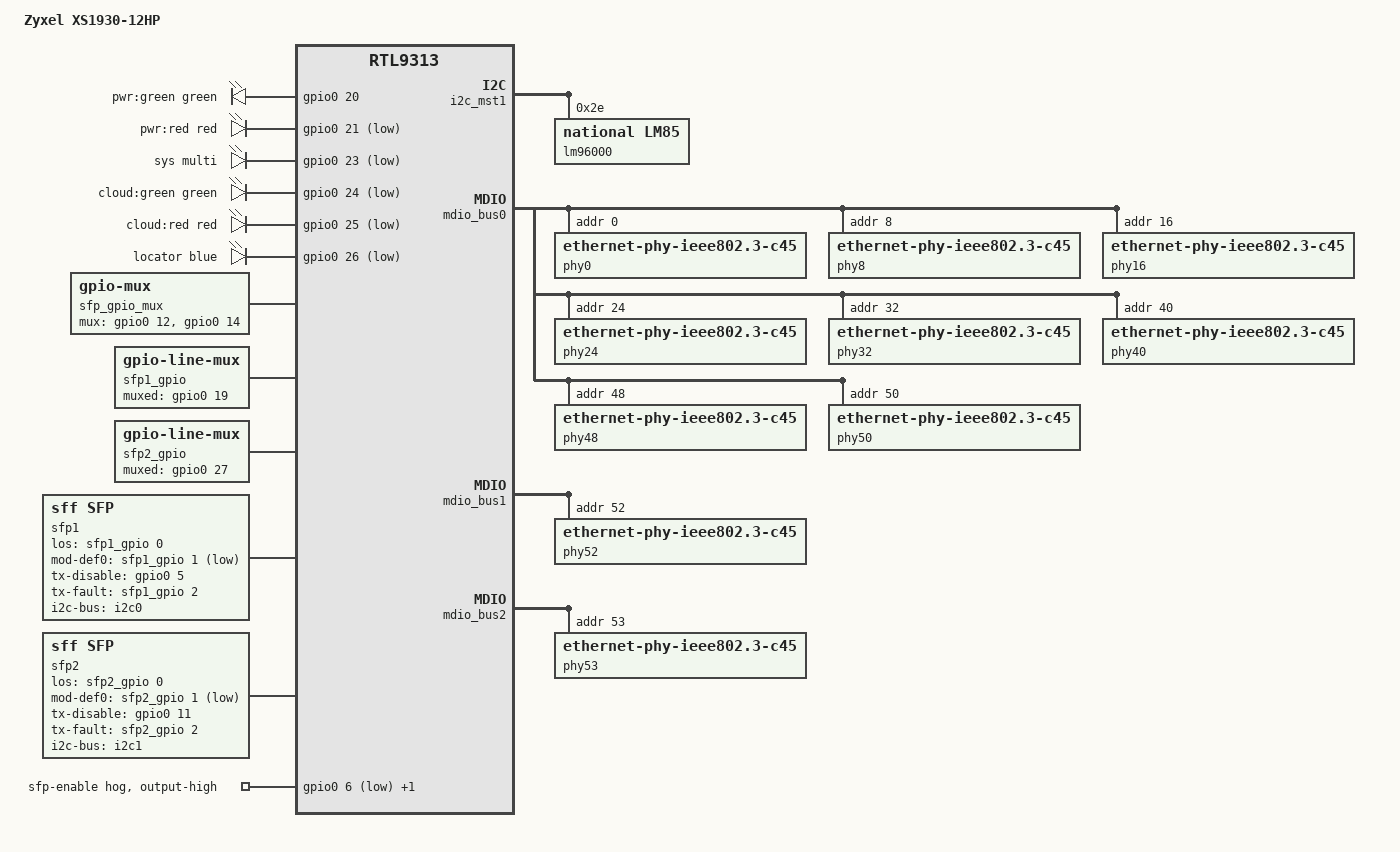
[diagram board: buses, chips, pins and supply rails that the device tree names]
// SPDX-License-Identifier: GPL-2.0-or-later
/dts-v1/;

#include "rtl9313_zyxel_xs1930.dtsi"

#include <dt-bindings/input/input.h>
#include <dt-bindings/gpio/gpio.h>
#include <dt-bindings/leds/common.h>
#include <dt-bindings/mux/mux.h>

/ {
	compatible = "zyxel,xs1930-12hp", "realtek,rtl9313-soc";
	model = "Zyxel XS1930-12HP";

	/*
	aliases {
		led-boot = &led_sys;
		led-failsafe = &led_sys;
		led-running = &led_sys;
		led-upgrade = &led_sys;
	};
	*/

	leds {
		compatible = "gpio-leds";

		led_pwr_green: led-0 {
			reg = <0>;
			color = <LED_COLOR_ID_GREEN>;
			default-state = "on";
			gpios = <&gpio0 20 GPIO_ACTIVE_HIGH>;
			label = "pwr:green";
		};
		led_pwr_red: led-1 {
			reg = <1>;
			color = <LED_COLOR_ID_RED>;
			gpios = <&gpio0 21 GPIO_ACTIVE_LOW>;
			label = "pwr:red";
		};
		led_sys: led-2 {
			reg = <2>;
			color = <LED_COLOR_ID_MULTI>;
			default-state = "on";
			function = LED_FUNCTION_ACTIVITY;
			gpios = <&gpio0 23 GPIO_ACTIVE_LOW>;
			label = "sys";
		};
		led_cloud_green: led-3 {
			reg = <3>;
			color = <LED_COLOR_ID_GREEN>;
			gpios = <&gpio0 24 GPIO_ACTIVE_LOW>;
			label = "cloud:green";
		};
		led_cloud_red: led-4 {
			reg = <4>;
			color = <LED_COLOR_ID_RED>;
			gpios = <&gpio0 25 GPIO_ACTIVE_LOW>;
			label = "cloud:red";
		};
		led_locator: led-5 {
			reg = <5>;
			color = <LED_COLOR_ID_BLUE>;
			function = LED_FUNCTION_INDICATOR;
			gpios = <&gpio0 26 GPIO_ACTIVE_LOW>;
			label = "locator";
		};
	};

	led_set: led_set@0 {
		compatible = "realtek,rtl9300-leds";
		active-low;

		/* Blue | Green | Red */
		led_set0 = <(RTL93XX_LED_SET_10G | RTL93XX_LED_SET_5G | RTL93XX_LED_SET_2P5G | RTL93XX_LED_SET_LINK | RTL93XX_LED_SET_ACT)
			    (RTL93XX_LED_SET_2P5G | RTL93XX_LED_SET_1G | RTL93XX_LED_SET_100M | RTL93XX_LED_SET_LINK | RTL93XX_LED_SET_ACT)
			    (RTL93XX_LED_SET_5G | RTL93XX_LED_SET_100M | RTL93XX_LED_SET_LINK | RTL93XX_LED_SET_ACT)>;
		led_set1 = <(RTL93XX_LED_SET_10G | RTL93XX_LED_SET_LINK | RTL93XX_LED_SET_ACT)
			    (RTL93XX_LED_SET_1G | RTL93XX_LED_SET_LINK | RTL93XX_LED_SET_ACT)
			    RTL93XX_LED_SET_NONE>;
	};

	sfp_gpio_mux: gpio-mux {
		compatible = "gpio-mux";
		mux-gpios = <&gpio0 12 GPIO_ACTIVE_HIGH>,
			    <&gpio0 14 GPIO_ACTIVE_HIGH>;
		#mux-control-cells = <0>;
		idle-state = <MUX_IDLE_AS_IS>;
	};

	sfp1_gpio: sfp-gpio-1 {
		compatible = "gpio-line-mux";
		gpio-controller;
		#gpio-cells = <2>;

		mux-controls = <&sfp_gpio_mux>;
		muxed-gpio = <&gpio0 19 GPIO_ACTIVE_HIGH>;

		gpio-line-names = "SFP1_LOS", "SFP1_MOD_ABS", "SFP1_TX_FAULT";
		gpio-line-mux-states = <0>, <1>, <3>;
	};

	sfp2_gpio: sfp-gpio-2 {
		compatible = "gpio-line-mux";
		gpio-controller;
		#gpio-cells = <2>;

		mux-controls = <&sfp_gpio_mux>;
		muxed-gpio = <&gpio0 27 GPIO_ACTIVE_HIGH>;

		gpio-line-names = "SFP2_LOS", "SFP2_MOD_ABS", "SFP2_TX_FAULT";
		gpio-line-mux-states = <0>, <1>, <3>;
	};

	sfp1: sfp-p1 {
		compatible = "sff,sfp";
		i2c-bus = <&i2c0>;
		los-gpio = <&sfp1_gpio 0 GPIO_ACTIVE_HIGH>;
		mod-def0-gpio = <&sfp1_gpio 1 GPIO_ACTIVE_LOW>;
		tx-disable-gpio = <&gpio0 5 GPIO_ACTIVE_HIGH>;
		tx-fault-gpio = <&sfp1_gpio 2 GPIO_ACTIVE_HIGH>;
	};

	sfp2: sfp-p2 {
		compatible = "sff,sfp";
		i2c-bus = <&i2c1>;
		los-gpio = <&sfp2_gpio 0 GPIO_ACTIVE_HIGH>;
		mod-def0-gpio = <&sfp2_gpio 1 GPIO_ACTIVE_LOW>;
		tx-disable-gpio = <&gpio0 11 GPIO_ACTIVE_HIGH>;
		tx-fault-gpio = <&sfp2_gpio 2 GPIO_ACTIVE_HIGH>;
	};
};

&gpio0 {
	pinctrl-names = "default";
	pinctrl-0 = <&pinmux_disable_jtag>;

	sfp_enable_hog {
		gpio-hog;
		gpios = <6 GPIO_ACTIVE_LOW>,
			<7 GPIO_ACTIVE_LOW>;
		output-high;
		line-name = "sfp-enable";
	};
};

&i2c_mst1 {
	status = "okay";

	i2c0: i2c@0 {
		reg = <0>;
	};
	i2c1: i2c@1 {
		reg = <1>;
	};

	i2c2: i2c@2 {
		reg = <2>;

		lm96000: lm96000@2e {
			compatible = "national,lm85";
			reg = <0x2e>;
		};
	};
};

&mdio_ctrl {
	pinctrl-names = "default";
	pinctrl-0 = <&pinmux_enable_mdc_mdio_0>,
		    <&pinmux_enable_mdc_mdio_1>,
		    <&pinmux_enable_mdc_mdio_2>;
};

&mdio_bus0 {
	/* AQR813 */
	phy0: ethernet-phy@0 {
		reg = <0>;
		compatible = "ethernet-phy-ieee802.3-c45";
		realtek,smi-address = <8>;
	};
	phy8: ethernet-phy@8 {
		reg = <8>;
		compatible = "ethernet-phy-ieee802.3-c45";
		realtek,smi-address = <9>;
	};
	phy16: ethernet-phy@16 {
		reg = <16>;
		compatible = "ethernet-phy-ieee802.3-c45";
		realtek,smi-address = <10>;
	};
	phy24: ethernet-phy@24 {
		reg = <24>;
		compatible = "ethernet-phy-ieee802.3-c45";
		realtek,smi-address = <11>;
	};
	phy32: ethernet-phy@32 {
		reg = <32>;
		compatible = "ethernet-phy-ieee802.3-c45";
		realtek,smi-address = <12>;
	};
	phy40: ethernet-phy@40 {
		reg = <40>;
		compatible = "ethernet-phy-ieee802.3-c45";
		realtek,smi-address = <13>;
	};
	phy48: ethernet-phy@48 {
		reg = <48>;
		compatible = "ethernet-phy-ieee802.3-c45";
		realtek,smi-address = <14>;
	};
	phy50: ethernet-phy@50 {
		reg = <50>;
		compatible = "ethernet-phy-ieee802.3-c45";
		realtek,smi-address = <15>;
	};
};

&mdio_bus1 {
	/* AQR113C */
	phy52: ethernet-phy@52 {
		reg = <52>;
		compatible = "ethernet-phy-ieee802.3-c45";
		realtek,smi-address = <0>;
	};
};

&mdio_bus2 {
	/* AQR113C */
	phy53: ethernet-phy@53 {
		reg = <53>;
		compatible = "ethernet-phy-ieee802.3-c45";
		realtek,smi-address = <8>;
	};
};

&switch0 {
	ports {
		#address-cells = <1>;
		#size-cells = <0>;

		/* Copper ports behind AQR813 */
		port0: port@0 {
			reg = <0>;
			label = SWITCH_PORT_LABEL(1);
			led-set = <0>;
			pcs-handle = <&serdes2>;
			phy-handle = <&phy0>;
			phy-mode = "usxgmii";
		};
		port8: port@8 {
			reg = <8>;
			label = SWITCH_PORT_LABEL(2);
			led-set = <0>;
			pcs-handle = <&serdes3>;
			phy-handle = <&phy8>;
			phy-mode = "usxgmii";
		};
		port16: port@16 {
			reg = <16>;
			label = SWITCH_PORT_LABEL(3);
			led-set = <0>;
			pcs-handle = <&serdes4>;
			phy-handle = <&phy16>;
			phy-mode = "usxgmii";
		};
		port24: port@24 {
			reg = <24>;
			label = SWITCH_PORT_LABEL(4);
			led-set = <0>;
			pcs-handle = <&serdes5>;
			phy-handle = <&phy24>;
			phy-mode = "usxgmii";
		};

		port32: port@32 {
			reg = <32>;
			label = SWITCH_PORT_LABEL(5);
			led-set = <0>;
			pcs-handle = <&serdes6>;
			phy-handle = <&phy32>;
			phy-mode = "usxgmii";
		};
		port40: port@40 {
			reg = <40>;
			label = SWITCH_PORT_LABEL(6);
			led-set = <0>;
			pcs-handle = <&serdes7>;
			phy-handle = <&phy40>;
			phy-mode = "usxgmii";
		};
		port48: port@48 {
			reg = <48>;
			label = SWITCH_PORT_LABEL(7);
			led-set = <0>;
			pcs-handle = <&serdes8>;
			phy-handle = <&phy48>;
			phy-mode = "usxgmii";
		};
		port50: port@50 {
			reg = <50>;
			label = SWITCH_PORT_LABEL(8);
			led-set = <0>;
			pcs-handle = <&serdes9>;
			phy-handle = <&phy50>;
			phy-mode = "usxgmii";
		};

		/* Copper ports behind AQR113C */
		port52: port@52 {
			reg = <52>;
			label = SWITCH_PORT_LABEL(9);
			led-set = <0>;
			pcs-handle = <&serdes10>;
			phy-handle = <&phy52>;
			phy-mode = "usxgmii";
		};
		port53: port@53 {
			reg = <53>;
			label = SWITCH_PORT_LABEL(10);
			led-set = <0>;
			pcs-handle = <&serdes11>;
			phy-handle = <&phy53>;
			phy-mode = "usxgmii";
		};

		/* SFP+ ports */
		port@54 {
			reg = <54>;
			label = SWITCH_PORT_LABEL(11);
			led-set = <1>;
			pcs-handle = <&serdes12>;
			phy-mode = "1000base-x";
			sfp = <&sfp1>;
			managed = "in-band-status";
		};
		port@55 {
			reg = <55>;
			label = SWITCH_PORT_LABEL(12);
			led-set = <1>;
			pcs-handle = <&serdes13>;
			phy-mode = "1000base-x";
			sfp = <&sfp2>;
			managed = "in-band-status";
		};

		/* CPU port */
		port@56 {
			ethernet = <&ethernet0>;
			reg = <56>;
			phy-mode = "internal";
			fixed-link {
				speed = <1000>;
				full-duplex;
			};
		};
	};
};

&serdes6 {
	realtek,pnswap-rx;
	realtek,pnswap-tx;
};

&serdes7 {
	realtek,pnswap-rx;
	realtek,pnswap-tx;
};

&serdes8 {
	realtek,pnswap-rx;
	realtek,pnswap-tx;
};

&serdes9 {
	realtek,pnswap-rx;
	realtek,pnswap-tx;
};

&serdes10 {
	realtek,pnswap-tx;
};

&serdes11 {
	realtek,pnswap-rx;
};

&serdes12 {
	realtek,pnswap-tx;
};

&serdes13 {
	realtek,pnswap-tx;
};
